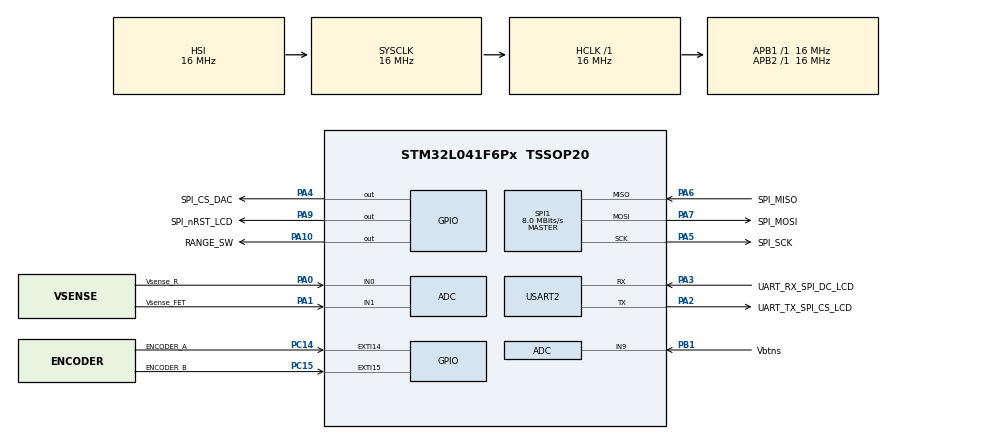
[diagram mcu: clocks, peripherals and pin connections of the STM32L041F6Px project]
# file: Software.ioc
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ADC.EOCSelection=ADC_EOC_SEQ_CONV
ADC.OversamplingMode=DISABLE
ADC.SamplingTime=ADC_SAMPLETIME_160CYCLES_5
Dma.ADC.0.Direction=DMA_PERIPH_TO_MEMORY
Dma.ADC.0.Instance=DMA1_Channel1
Dma.ADC.0.MemDataAlignment=DMA_MDATAALIGN_HALFWORD
Dma.ADC.0.MemInc=DMA_MINC_ENABLE
Dma.ADC.0.Mode=DMA_NORMAL
Dma.ADC.0.PeriphDataAlignment=DMA_PDATAALIGN_HALFWORD
Dma.ADC.0.PeriphInc=DMA_PINC_DISABLE
Dma.ADC.0.Priority=DMA_PRIORITY_LOW
Dma.Request0=ADC
Mcu.Family=STM32L0
Mcu.Name=STM32L041F6Px
Mcu.Package=TSSOP20
NVIC.DMA1_Channel1_IRQn=true\:0\:0\:false\:false\:true\:false\:true
NVIC.EXTI4_15_IRQn=true\:0\:0\:false\:false\:true\:true\:true
PA0-CK_IN.GPIO_Label=Vsense_R
PA0-CK_IN.Mode=IN0
PA0-CK_IN.Signal=ADC_IN0
PA1.GPIO_Label=Vsense_FET
PA1.Mode=IN1
PA1.Signal=ADC_IN1
PA10.GPIO_Label=RANGE_SW
PA10.Signal=GPIO_Output
PA13.Mode=Serial_Wire
PA13.Signal=SYS_SWDIO
PA14.Mode=Serial_Wire
PA14.Signal=SYS_SWCLK
PA2.GPIO_Label=UART_TX_SPI_CS_LCD
PA2.Mode=Asynchronous
PA2.Signal=USART2_TX
PA3.GPIO_Label=UART_RX_SPI_DC_LCD
PA3.Mode=Asynchronous
PA3.Signal=USART2_RX
PA4.GPIO_Label=SPI_CS_DAC
PA4.GPIO_Speed=GPIO_SPEED_FREQ_VERY_HIGH
PA4.Signal=GPIO_Output
PA5.GPIO_Label=SPI_SCK
PA5.Mode=Full_Duplex_Master
PA5.Signal=SPI1_SCK
PA6.GPIO_Label=SPI_MISO
PA6.Mode=Full_Duplex_Master
PA6.Signal=SPI1_MISO
PA7.GPIO_Label=SPI_MOSI
PA7.Mode=Full_Duplex_Master
PA7.Signal=SPI1_MOSI
PA9.GPIO_Label=SPI_nRST_LCD
PA9.GPIO_Speed=GPIO_SPEED_FREQ_VERY_HIGH
PA9.Signal=GPIO_Output
PB1.GPIO_Label=Vbtns
PB1.Mode=IN9
PB1.Signal=ADC_IN9
PC14-OSC32_IN.GPIO_Label=ENCODER_A
PC14-OSC32_IN.GPIO_ModeDefaultEXTI=GPIO_MODE_IT_RISING_FALLING
PC14-OSC32_IN.GPIO_PuPd=GPIO_PULLUP
PC14-OSC32_IN.Signal=GPXTI14
PC15-OSC32_OUT.GPIO_Label=ENCODER_B
PC15-OSC32_OUT.GPIO_PuPd=GPIO_PULLUP
PC15-OSC32_OUT.Signal=GPXTI15
ProjectManager.HeapSize=0x200
ProjectManager.StackSize=0x400
ProjectManager.TargetToolchain=Makefile
RCC.ADCFreq_Value=16000000
RCC.AHBFreq_Value=16000000
RCC.APB1Freq_Value=16000000
RCC.APB1TimFreq_Value=16000000
RCC.APB2Freq_Value=16000000
RCC.APB2TimFreq_Value=16000000
RCC.HCLKFreq_Value=16000000
RCC.HSE_VALUE=8000000
RCC.HSI16_VALUE=16000000
RCC.HSI_VALUE=16000000
RCC.LSE_VALUE=32768
RCC.MSI_VALUE=2097000
RCC.SYSCLKFreq_VALUE=16000000
RCC.SYSCLKSource=RCC_SYSCLKSOURCE_HSI
RCC.VCOOutputFreq_Value=48000000
SPI1.BaudRatePrescaler=SPI_BAUDRATEPRESCALER_2
SPI1.CalculateBaudRate=8.0 MBits/s
SPI1.Direction=SPI_DIRECTION_2LINES
SPI1.Mode=SPI_MODE_MASTER
SPI1.VirtualType=VM_MASTER
USART2.VirtualMode-Asynchronous=VM_ASYNC
board=custom

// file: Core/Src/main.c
/* USER CODE BEGIN Header */
/**
 ******************************************************************************
 * @file           : main.c
 * @brief          : Main program body
 ******************************************************************************
 * @attention
 *
 * <h2><center>&copy; Copyright (c) 2022 STMicroelectronics.
 * All rights reserved.</center></h2>
 *
 * This software component is licensed by ST under BSD 3-Clause license,
 * the "License"; You may not use this file except in compliance with the
 * License. You may obtain a copy of the License at:
 *                        opensource.org/licenses/BSD-3-Clause
 *
 ******************************************************************************
 */
/* USER CODE END Header */
#include "main.h"
#include "adc.h"
#include "dma.h"
#include "spi.h"
#include "usart.h"
#include "gpio.h"

/* USER CODE BEGIN Includes */
#include "5x5_font.h"
#include "ILI9341_GFX.h"
#include "ILI9341_STM32_Driver.h"
#include "buttons.h"
#include "encoder.h"
#include "dac.h"
#include <stdio.h>
#include <string.h>

/* USER CODE END Includes */

/* USER CODE BEGIN PTD */
#define RS_HIGH_RANGE_OHMS  0.0909
#define RS_LOW_RANGE_OHMS   1.000
#define ISET_MAX_HIGH_AMPS  10.00
#define RES_HIGH_RANGE_AMPS 0.01 // Current set/read resolution in HIGH range
#define RES_LOW_RANGE_AMPS  0.001 // Current set/read resolution in LOW range
#define ISET_MAX_LOW_AMPS   1.000
#define ENCODER_MAX_VAL_HIGH ((uint32_t) (ENCODER_TICKS_PER_DETENT * \
                                         (ISET_MAX_HIGH_AMPS / RES_HIGH_RANGE_AMPS)))
#define ENCODER_MAX_VAL_LOW  ((uint32_t) (ENCODER_TICKS_PER_DETENT * \
                                         (ISET_MAX_LOW_AMPS / RES_LOW_RANGE_AMPS)))
#define ENCODER_MIN_VAL 0

#define NUM_DISPLAYED_DIGITS 4 // Max number of digits to display for readout
#define FORMATTER_HIGH_RNG "%d.%02d " // Extra space to remove trailing 0's in HIGH range
#define FORMATTER_LOW_RNG  "%d.%03d"
#define VALUE_CHAR_SCALER 4
#define INFO_CHAR_SCALER 3
// Y distance between new lines (in pixels)
#define VALUE_LCD_Y_OFFSET (CHAR_HEIGHT * VALUE_CHAR_SCALER + 5)
#define INFO_LCD_Y_OFFSET (CHAR_HEIGHT * INFO_CHAR_SCALER + 5)
// Start position for data labels
#define IMEAS_TXT_LCD_X_START 10
#define IMEAS_TXT_LCD_Y_START 5
#define ISET_TXT_LCD_X_START  10
#define ISET_TXT_LCD_Y_START  (IMEAS_TXT_LCD_Y_START + \
                                VALUE_LCD_Y_OFFSET + INFO_LCD_Y_OFFSET)
// Start position for imeasured display data
#define IMEASURED_LCD_X_START (IMEAS_TXT_LCD_X_START)
#define IMEASURED_LCD_Y_START (IMEAS_TXT_LCD_Y_START + INFO_LCD_Y_OFFSET - 5)
// Start position for iset display data
#define ISET_LCD_X_START (ISET_TXT_LCD_X_START)
#define ISET_LCD_Y_START (ISET_TXT_LCD_Y_START + INFO_LCD_Y_OFFSET - 5)
#define OUTPUT_LCD_X_START 5
#define OUTPUT_LCD_Y_START 160
#define OUTPUT_ON_COLOR   GREEN
#define OUTPUT_OFF_COLOR  0x80E1
#define RANGE_LCD_X_START 165
#define RANGE_LCD_Y_START OUTPUT_LCD_Y_START
#define RANGE_HIGH_COLOR  ORANGE
#define RANGE_LOW_COLOR   CYAN
/* USER CODE END PTD */

/* USER CODE BEGIN PD */
#define USE_LCD
/* USER CODE END PD */

/* USER CODE BEGIN PV */
typedef enum {
    LOW_RANGE = 0,
    HIGH_RANGE = 1
} RangeMode_t;
/* USER CODE END PV */

void SystemClock_Config(void);
/* USER CODE BEGIN PFP */
void displayInfo(uint32_t output_on, uint32_t range_mode,
                    float iset, float imeasured);
void setRange(RangeMode_t range_mode);
/* USER CODE END PFP */

int main(void)
{
  /* USER CODE BEGIN 1 */
    ButtonStates_TypeDef *buttons;
    ADC_HandleTypeDef *   adc;
  /* USER CODE END 1 */

  /* MCU Configuration--------------------------------------------------------*/

  /* Reset of all peripherals, Initializes the Flash interface and the Systick. */
  HAL_Init();

  /* Configure the system clock */
  SystemClock_Config();

  /* Initialize all configured peripherals */
  MX_GPIO_Init();
  MX_DMA_Init();
  MX_ADC_Init();
  MX_SPI1_Init();
  MX_USART2_UART_Init();
  /* USER CODE BEGIN 2 */
  ENCODER_init(ENCODER_MIN_VAL, ENCODER_MAX_VAL_LOW);
  DAC_init();
  buttons = BUTTONS_init();
  adc = HAL_ADC_getInstance();
  HAL_ADCEx_Calibration_Start(adc, ADC_SINGLE_ENDED);
  char out_buff[100] = {0};
  uint32_t output_on = 0;
  uint16_t vsense_raw = 0; // ADC reading from Vsense node
  uint16_t vfet_raw = 0; // ADC reading from VFET node
  RangeMode_t range_mode = LOW_RANGE;
  float vref = 3.3; // V TODO: Calculate using Vrefint
  float vRs = 0.0; // Voltage across sense resistor
  float imeasured = 0.0; // Measured sink current
  float iset = 0.0; // Set current
  float vset = 0.0; // DAC set voltage

  // Initialize the current range to LOW
  setRange(LOW_RANGE);

#ifdef USE_LCD
    HAL_UART_MspDeInit(UART_getInstance(UART2));
    ILI9341_Init(); // initial driver setup to drive ili9341
    ILI9341_Set_Rotation(SCREEN_HORIZONTAL_2);
    ILI9341_Fill_Screen(BLACK);
    ILI9341_Draw_Text("Measured",
                        IMEAS_TXT_LCD_X_START, IMEAS_TXT_LCD_Y_START,
                        WHITE, INFO_CHAR_SCALER, BLACK);
    ILI9341_Draw_Text("Set",
                        ISET_TXT_LCD_X_START, ISET_TXT_LCD_Y_START,
                        WHITE, INFO_CHAR_SCALER, BLACK);
    ILI9341_Draw_Text("Output",
                        OUTPUT_LCD_X_START, OUTPUT_LCD_Y_START,
                        WHITE, INFO_CHAR_SCALER, BLACK);
    ILI9341_Draw_Text("Range",
                        RANGE_LCD_X_START, RANGE_LCD_Y_START,
                        WHITE, INFO_CHAR_SCALER, BLACK);
#endif

  /* USER CODE END 2 */

  /* Infinite loop */
  /* USER CODE BEGIN WHILE */
    while (1) {
        /***************************\
         *  Process button presses *
        \***************************/
        BUTTONS_update();

        // ---------- Range Selection ----------
        if (buttons->rangePressed) {
            if (range_mode == HIGH_RANGE) {
                // Set to LOW mode
                range_mode = LOW_RANGE;
                setRange(LOW_RANGE);
            } else {
                // Set to HIGH mode
                range_mode = HIGH_RANGE;
                setRange(HIGH_RANGE);
            }
        }

        // ---------- Output Toggle ----------
        if (buttons->togglePressed) output_on = !output_on;

        // ---------- Set Slew Rate ----------
        // TODO: Implement slew rate limiting

        /**************************\
         *    Update Iset value   *
        \**************************/
        if (range_mode == LOW_RANGE) {
            iset = ((float) ENCODER_getValue() / ENCODER_MAX_VAL_LOW) * ISET_MAX_LOW_AMPS;
            vset = iset * RS_LOW_RANGE_OHMS;
        } else {
            iset = ((float) ENCODER_getValue() / ENCODER_MAX_VAL_HIGH) * ISET_MAX_HIGH_AMPS;
            vset = iset * RS_HIGH_RANGE_OHMS;
        }
        DAC_setVolts((output_on ? vset : 0.000));

        /**************************\
         *  Calcluate Isink value *
        \**************************/
        vsense_raw = ADC_readChannel(ADC_VSENSE_CHANNEL_IDX);
        vfet_raw = ADC_readChannel(ADC_VFET_CHANNEL_IDX);
        vRs = vref * (vsense_raw - vfet_raw) / ADC_MAX_READING;
        imeasured = vRs /
            (range_mode == LOW_RANGE ? RS_LOW_RANGE_OHMS : RS_HIGH_RANGE_OHMS);

        /**************************\
         *     Update  display    *
        \**************************/
        displayInfo(output_on, range_mode, iset, imeasured);

    /* USER CODE END WHILE */

    }
}

void SystemClock_Config(void)
{
  RCC_OscInitTypeDef RCC_OscInitStruct = {0};
  RCC_ClkInitTypeDef RCC_ClkInitStruct = {0};
  RCC_PeriphCLKInitTypeDef PeriphClkInit = {0};

  /** Configure the main internal regulator output voltage
  */
  __HAL_PWR_VOLTAGESCALING_CONFIG(PWR_REGULATOR_VOLTAGE_SCALE1);
  /** Initializes the RCC Oscillators according to the specified parameters
  * in the RCC_OscInitTypeDef structure.
  */
  RCC_OscInitStruct.OscillatorType = RCC_OSCILLATORTYPE_HSI;
  RCC_OscInitStruct.HSIState = RCC_HSI_ON;
  RCC_OscInitStruct.HSICalibrationValue = RCC_HSICALIBRATION_DEFAULT;
  RCC_OscInitStruct.PLL.PLLState = RCC_PLL_NONE;
  if (HAL_RCC_OscConfig(&RCC_OscInitStruct) != HAL_OK)
  {
    Error_Handler();
  }
  /** Initializes the CPU, AHB and APB buses clocks
  */
  RCC_ClkInitStruct.ClockType = RCC_CLOCKTYPE_HCLK|RCC_CLOCKTYPE_SYSCLK
                              |RCC_CLOCKTYPE_PCLK1|RCC_CLOCKTYPE_PCLK2;
  RCC_ClkInitStruct.SYSCLKSource = RCC_SYSCLKSOURCE_HSI;
  RCC_ClkInitStruct.AHBCLKDivider = RCC_SYSCLK_DIV1;
  RCC_ClkInitStruct.APB1CLKDivider = RCC_HCLK_DIV1;
  RCC_ClkInitStruct.APB2CLKDivider = RCC_HCLK_DIV1;

  if (HAL_RCC_ClockConfig(&RCC_ClkInitStruct, FLASH_LATENCY_0) != HAL_OK)
  {
    Error_Handler();
  }
  PeriphClkInit.PeriphClockSelection = RCC_PERIPHCLK_USART2;
  PeriphClkInit.Usart2ClockSelection = RCC_USART2CLKSOURCE_PCLK1;
  if (HAL_RCCEx_PeriphCLKConfig(&PeriphClkInit) != HAL_OK)
  {
    Error_Handler();
  }
}

/* USER CODE BEGIN 4 */

/**
 * @brief Updates the user on the system states. iset and imeasured will always
 * display 4 digits. If range_mode is LOW, the output format will be x.xxx. If
 * range_mode is HIGH, the output will be xx.xx
 *
 * @param output_on output state
 * @param range_mode output range
 * @param iset set output current
 * @param imeasured measured output current
 */
void displayInfo(uint32_t output_on, uint32_t range_mode,
                    float iset, float imeasured)
{
    static uint32_t output_on_last = 1;
    static uint32_t range_last = HIGH_RANGE;
    // Track digits so we can only redraw what's new. len = NUM_DIGITS + '.' + '\0'
    static char imes_strbuff_last[NUM_DISPLAYED_DIGITS + 2] = {0};
    static char iset_strbuff_last[NUM_DISPLAYED_DIGITS + 2] = {0};

    char i_strbuff[NUM_DISPLAYED_DIGITS + 2]; // NUM_DIGITS + '.' + '\0'
    uint32_t whole_part;
    uint32_t frac_part;
    // Precision factor is used to determine how many fractional digits to use
    uint32_t precision_factor = (range_mode == HIGH_RANGE) ? 100 : 1000;

    // Compute and display iset and imeasured
    const char* formatter = (range_mode == HIGH_RANGE) ?
                                    FORMATTER_HIGH_RNG : FORMATTER_LOW_RNG;
    // ---------- imeasured ----------
    whole_part = (uint32_t) imeasured;
    frac_part = ((uint32_t) (imeasured * precision_factor)) % precision_factor;
    sprintf(i_strbuff, formatter, whole_part, frac_part);

    uint32_t cursor_x = IMEASURED_LCD_X_START;
    uint32_t cursor_y = IMEASURED_LCD_Y_START;
    for (int i = 0; i < NUM_DISPLAYED_DIGITS + 1; i++) {
        if (i_strbuff[i] != imes_strbuff_last[i]) {
            ILI9341_Draw_Char(i_strbuff[i], cursor_x, cursor_y, WHITE, VALUE_CHAR_SCALER, BLACK);
        }
        if (i_strbuff[i] == '.') {
            cursor_x += CHAR_WIDTH * VALUE_CHAR_SCALER * 1;
        } else {
            cursor_x += CHAR_WIDTH * VALUE_CHAR_SCALER;
        }

        imes_strbuff_last[i] = i_strbuff[i];
    }

    // ---------- iset ----------
    whole_part = (uint32_t) iset;
    frac_part = ((uint32_t) (iset * precision_factor)) % precision_factor;
    sprintf(i_strbuff, formatter, whole_part, frac_part);

    cursor_x = ISET_LCD_X_START;
    cursor_y = ISET_LCD_Y_START;
    for (int i = 0; i < NUM_DISPLAYED_DIGITS + 1; i++) {
        if (i_strbuff[i] != iset_strbuff_last[i]) {
            ILI9341_Draw_Char(i_strbuff[i], cursor_x, cursor_y, WHITE, VALUE_CHAR_SCALER, BLACK);
        }
        if (i_strbuff[i] == '.') {
            cursor_x += CHAR_WIDTH * VALUE_CHAR_SCALER * 1;
        } else {
            cursor_x += CHAR_WIDTH * VALUE_CHAR_SCALER;
        }

        iset_strbuff_last[i] = i_strbuff[i];
    }

    // Draw output state
    if (output_on != output_on_last) {
        uint32_t color = output_on == 1 ? OUTPUT_ON_COLOR : OUTPUT_OFF_COLOR;
        ILI9341_Draw_Text(output_on == 1 ? "ON " : "OFF",
                            OUTPUT_LCD_X_START, OUTPUT_LCD_Y_START + INFO_LCD_Y_OFFSET,
                            color, VALUE_CHAR_SCALER, BLACK);
        output_on_last = output_on;
    }

    // Draw range state
    if (range_mode != range_last) {
        uint32_t color = range_mode == HIGH_RANGE ?
                                        RANGE_HIGH_COLOR : RANGE_LOW_COLOR;
        ILI9341_Draw_Text(range_mode == HIGH_RANGE ? "High" : "Low ",
                            RANGE_LCD_X_START, RANGE_LCD_Y_START + INFO_LCD_Y_OFFSET,
                            color, VALUE_CHAR_SCALER, BLACK);
        range_last = range_mode;
    }
}

void setRange(RangeMode_t range_mode) {
    if (range_mode == HIGH_RANGE) {
        // Set to LOW mode
        HAL_GPIO_WritePin(RANGE_SW_GPIO_Port, RANGE_SW_Pin, LOW_RANGE);
        // Scale the encoder value so that the output current stays the
        // same (or clamps)
        ENCODER_setValue(ENCODER_getValue() *
                            ISET_MAX_LOW_AMPS / ISET_MAX_HIGH_AMPS);
    } else {
        // Set to HIGH mode
        HAL_GPIO_WritePin(RANGE_SW_GPIO_Port, RANGE_SW_Pin, HIGH_RANGE);
        // Scale the encoder value so that the output current stays the
        // same (or clamps)
        ENCODER_setValue(ENCODER_getValue() *
                            ISET_MAX_HIGH_AMPS / ISET_MAX_LOW_AMPS);

    }
}
/* USER CODE END 4 */

void Error_Handler(void)
{
    __disable_irq();
    while (1) {
    }
}

/************************ (C) COPYRIGHT STMicroelectronics *****END OF FILE****/
